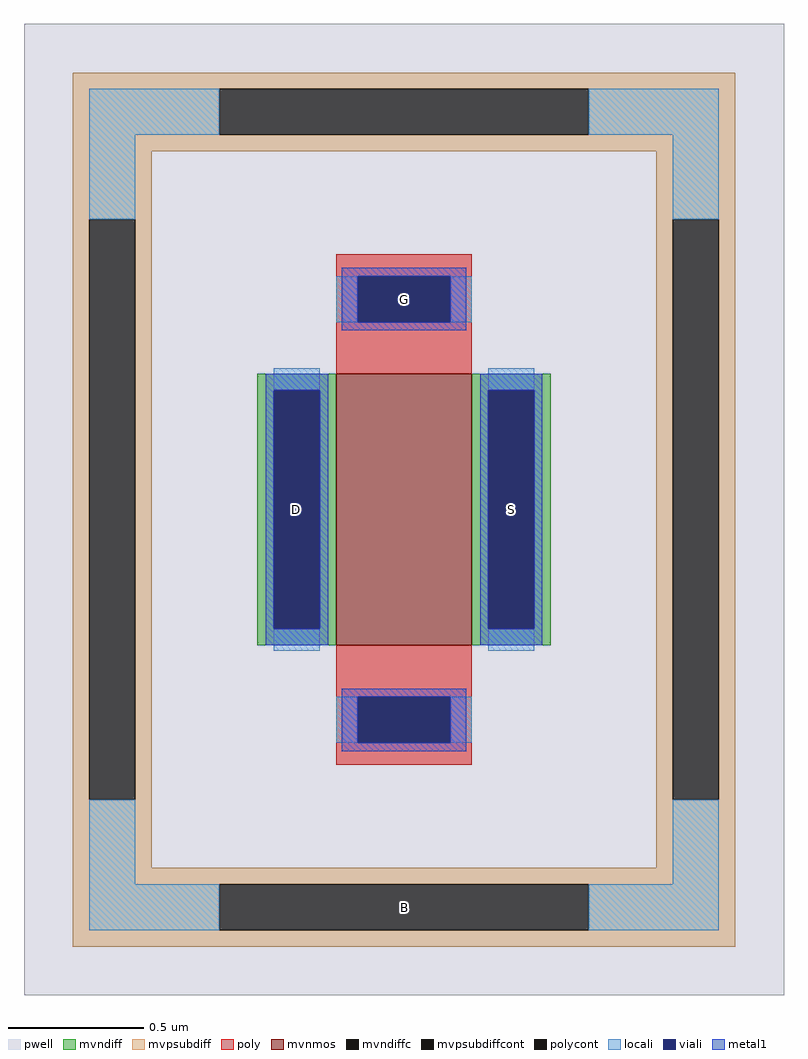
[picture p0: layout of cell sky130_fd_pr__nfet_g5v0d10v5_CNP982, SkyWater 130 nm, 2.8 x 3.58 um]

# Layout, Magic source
magic
tech sky130A
magscale 1 2
<< pwell >>
rect -280 -358 280 358
<< mvnmos >>
rect -50 -100 50 100
<< mvndiff >>
rect -108 88 -50 100
rect -108 -88 -96 88
rect -62 -88 -50 88
rect -108 -100 -50 -88
rect 50 88 108 100
rect 50 -88 62 88
rect 96 -88 108 88
rect 50 -100 108 -88
<< mvndiffc >>
rect -96 -88 -62 88
rect 62 -88 96 88
<< mvpsubdiff >>
rect -244 310 244 322
rect -244 276 -136 310
rect 136 276 244 310
rect -244 264 244 276
rect -244 214 -186 264
rect -244 -214 -232 214
rect -198 -214 -186 214
rect 186 214 244 264
rect -244 -264 -186 -214
rect 186 -214 198 214
rect 232 -214 244 214
rect 186 -264 244 -214
rect -244 -276 244 -264
rect -244 -310 -136 -276
rect 136 -310 244 -276
rect -244 -322 244 -310
<< mvpsubdiffcont >>
rect -136 276 136 310
rect -232 -214 -198 214
rect 198 -214 232 214
rect -136 -310 136 -276
<< poly >>
rect -50 172 50 188
rect -50 138 -34 172
rect 34 138 50 172
rect -50 100 50 138
rect -50 -138 50 -100
rect -50 -172 -34 -138
rect 34 -172 50 -138
rect -50 -188 50 -172
<< polycont >>
rect -34 138 34 172
rect -34 -172 34 -138
<< locali >>
rect -232 276 -136 310
rect 136 276 232 310
rect -232 214 -198 276
rect 198 214 232 276
rect -50 138 -34 172
rect 34 138 50 172
rect -96 88 -62 104
rect -96 -104 -62 -88
rect 62 88 96 104
rect 62 -104 96 -88
rect -50 -172 -34 -138
rect 34 -172 50 -138
rect -232 -276 -198 -214
rect 198 -276 232 -214
rect -232 -310 -136 -276
rect 136 -310 232 -276
<< viali >>
rect -34 138 34 172
rect -96 -88 -62 88
rect 62 -88 96 88
rect -34 -172 34 -138
<< metal1 >>
rect -46 172 46 178
rect -46 138 -34 172
rect 34 138 46 172
rect -46 132 46 138
rect -102 88 -56 100
rect -102 -88 -96 88
rect -62 -88 -56 88
rect -102 -100 -56 -88
rect 56 88 102 100
rect 56 -88 62 88
rect 96 -88 102 88
rect 56 -100 102 -88
rect -46 -138 46 -132
rect -46 -172 -34 -138
rect 34 -172 46 -138
rect -46 -178 46 -172
<< labels >>
rlabel mvpsubdiffcont 0 -293 0 -293 0 B
port 1 nsew
rlabel mvndiffc -79 0 -79 0 0 D
port 2 nsew
rlabel mvndiffc 79 0 79 0 0 S
port 3 nsew
rlabel polycont 0 155 0 155 0 G
port 4 nsew
<< properties >>
string FIXED_BBOX -215 -293 215 293
string gencell sky130_fd_pr__nfet_g5v0d10v5
string library sky130
string parameters w 1.0 l 0.5 m 1 nf 1 diffcov 100 polycov 100 guard 1 glc 1 grc 1 gtc 1 gbc 1 tbcov 100 rlcov 100 topc 1 botc 1 poverlap 0 doverlap 1 lmin 0.50 wmin 0.42 class mosfet compatible {sky130_fd_pr__nfet_01v8 sky130_fd_pr__nfet_01v8_lvt  sky130_fd_bs_flash__special_sonosfet_star  sky130_fd_pr__nfet_g5v0d10v5 sky130_fd_pr__nfet_05v0_nvt  sky130_fd_pr__nfet_03v3_nvt} full_metal 1 viasrc 100 viadrn 100 viagate 100 viagb 0 viagr 0 viagl 0 viagt 0 doports 1
<< end >>
